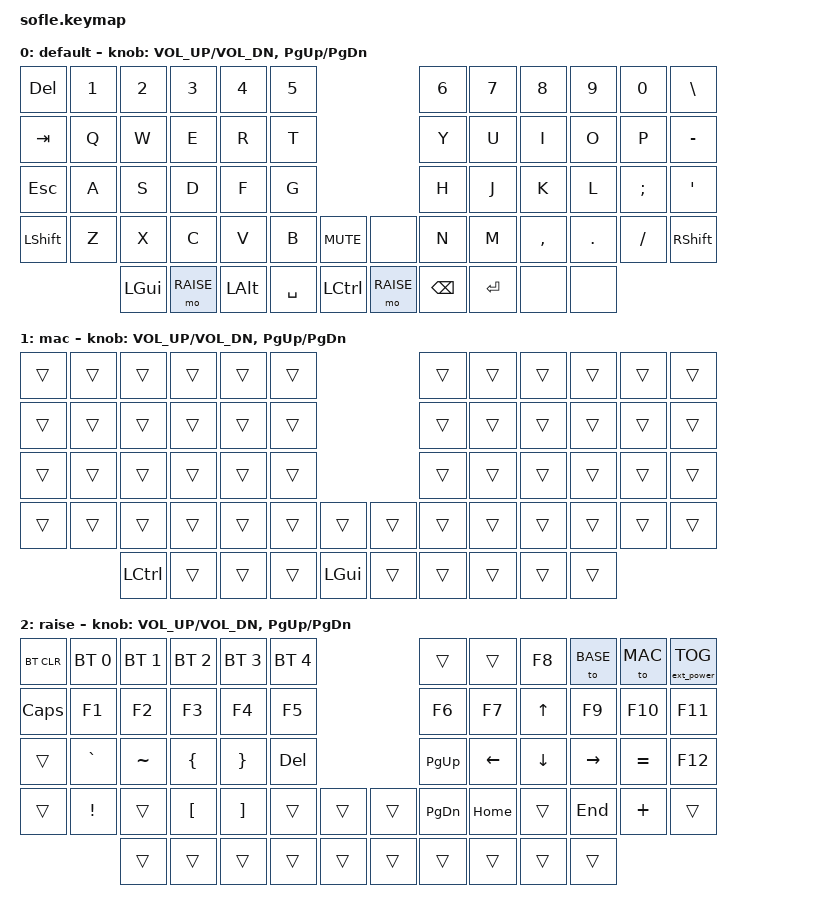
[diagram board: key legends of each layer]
/*
 * Copyright (c) 2020 The ZMK Contributors
 *
 * SPDX-License-Identifier: MIT
 */

#include <behaviors.dtsi>
#include <dt-bindings/zmk/keys.h>
#include <dt-bindings/zmk/bt.h>
#include <dt-bindings/zmk/rgb.h>
#include <dt-bindings/zmk/ext_power.h>

#define BASE 0
#define MAC 1
#define RAISE 2

&nice_view_spi { cs-gpios = <&pro_micro 4 GPIO_ACTIVE_HIGH>; };

/ {

    keymap {
        compatible = "zmk,keymap";

        default_layer {
            display-name = "default";
// ------------------------------------------------------------------------------------------------------------
// |  DEL  |  1  |  2  |  3   |  4   |  5   |                   |  6   |  7    |  8    |  9   |   0   |   \   |
// |  TAB  |  Q  |  W  |  E   |  R   |  T   |                   |  Y   |  U    |  I    |  O   |   P   |   -   |
// |  ESC  |  A  |  S  |  D   |  F   |  G   |                   |  H   |  J    |  K    |  L   |   ;   |   '   |
// | SHIFT |  Z  |  X  |  C   |  V   |  B   |  MUTE  |  |       |  N   |  M    |  ,    |  .   |   /   | SHIFT |
//               | GUI | RAISE| ALT  | SPC  |  CTRL  |  | RAISE | BKSP |  RET  |       |      |
            bindings = <
&kp DEL   &kp N1 &kp N2    &kp N3   &kp N4    &kp N5                           &kp N6 &kp N7    &kp N8    &kp N9   &kp N0   &kp BSLH
&kp TAB   &kp Q  &kp W     &kp E    &kp R     &kp T                            &kp Y  &kp U     &kp I     &kp O    &kp P    &kp MINUS
&kp ESC   &kp A  &kp S     &kp D    &kp F     &kp G                            &kp H  &kp J     &kp K     &kp L    &kp SEMI &kp SQT
&kp LSHFT &kp Z  &kp X     &kp C    &kp V     &kp B      &kp C_MUTE &none      &kp N  &kp M     &kp COMMA &kp DOT  &kp FSLH &kp RSHFT
                 &kp LGUI &mo RAISE &kp LALT  &kp SPACE  &kp LCTRL  &mo RAISE  &kp BSPC   &kp RET   &none     &none
            >;

            sensor-bindings = <&inc_dec_kp C_VOL_UP C_VOL_DN &inc_dec_kp PG_UP PG_DN>;
        };

        mac_layer {
            display-name = "mac";
            bindings = <
&trans &trans &trans &trans &trans &trans                 &trans &trans &trans &trans &trans &trans
&trans &trans &trans &trans &trans &trans                 &trans &trans &trans &trans &trans &trans
&trans &trans &trans &trans &trans &trans                 &trans &trans &trans &trans &trans &trans
&trans &trans &trans &trans &trans &trans  &trans &trans  &trans &trans &trans &trans &trans &trans
              &kp LCTRL &trans &trans &trans  &kp LGUI &trans  &trans &trans &trans &trans
            >;

            sensor-bindings = <&inc_dec_kp C_VOL_UP C_VOL_DN &inc_dec_kp PG_UP PG_DN>;
        };

        raise_layer {
            display-name = "raise";
// ------------------------------------------------------------------------------------------------------------
// | BTCLR |  BT1 |  BT2 |  BT3  |  BT4  |  BT5 |                |      |      |  F8   | BASE | MAC | EXTPWR|
// |  CAPS |  F1  |  F2  |  F3   |  F4   |  F5  |                |  F6  |  F7  |   ^   |  F9  |  F10  |  F11  |
// |       |   `  |   ~  |   {   |   }   | DEL  |                | PGUP |  <-  |   v   |  ->  |   =   |  F12  |
// |       |  !   |      |   [   |   ]   |      |      |  |      | PGDN | HOME |       | END  |   +   |       |
//                |      |       |       |      |      |  |      |      |      |       |      |
            bindings = <
&bt BT_CLR &bt BT_SEL 0 &bt BT_SEL 1 &bt BT_SEL 2 &bt BT_SEL 3 &bt BT_SEL 4  &trans    &trans    &kp F8   &to BASE  &to MAC  &ext_power EP_TOG
&kp CLCK &kp F1   &kp F2    &kp F3    &kp F4    &kp F5                      &kp F6    &kp F7   &kp UP   &kp F9    &kp F10    &kp F11
&trans    &kp GRAVE &kp TILDE &kp LBRC  &kp RBRC  &kp DEL                     &kp PG_UP &kp LEFT &kp DOWN &kp RIGHT &kp EQUAL  &kp F12
&trans    &kp EXCL &trans    &kp LBKT  &kp RBKT  &trans    &trans  &trans    &kp PG_DN &kp HOME &trans   &kp END   &kp PLUS   &trans
                   &trans    &trans    &trans    &trans    &trans  &trans    &trans    &trans   &trans   &trans
            >;

            sensor-bindings = <&inc_dec_kp C_VOL_UP C_VOL_DN &inc_dec_kp PG_UP PG_DN>;
        };


    };
};
